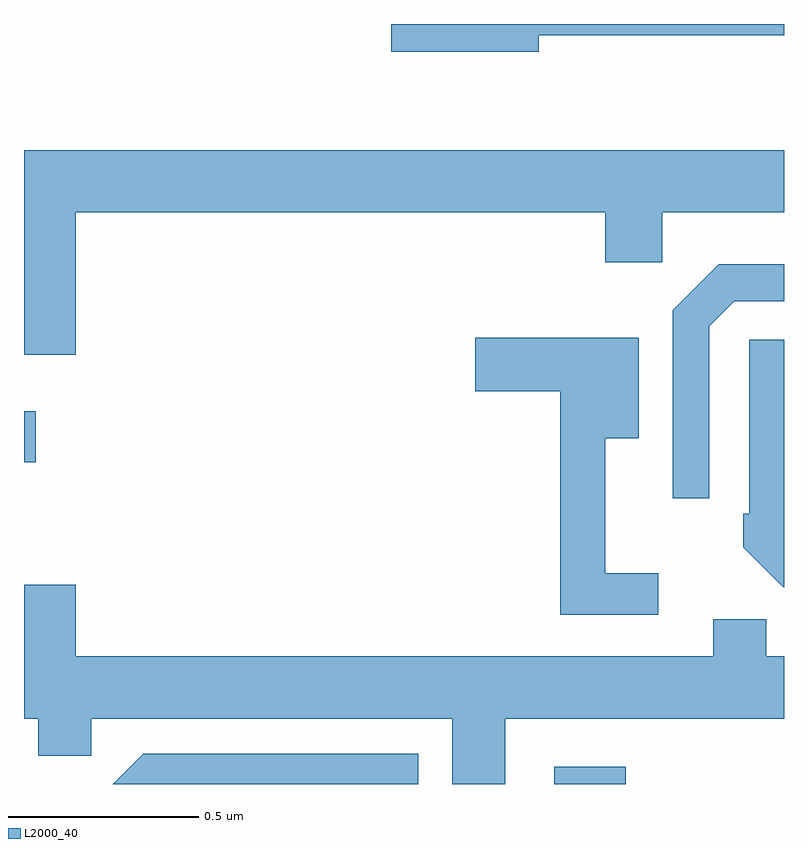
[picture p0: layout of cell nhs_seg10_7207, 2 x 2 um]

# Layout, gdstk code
import gdstk
lib = gdstk.Library(unit=1e-6, precision=1e-09)
def R(c, l, rs):  # rectangles x0, y0, x1, y1
    for r in rs: c.add(gdstk.rectangle(r[:2], r[2:], *l))
def P(c, l, *ps):  # polygons
    for p in ps: c.add(gdstk.Polygon(p, *l))
L2000_40 = (2000, 40)

nhs_seg10_7207 = lib.new_cell('nhs_seg10_7207')
R(nhs_seg10_7207, L2000_40, [(202.395,1277.5,202.583,1277.545), (201,1278.347,201.031,1278.481)])
P(nhs_seg10_7207, L2000_40, [(202.354,1279.47),(203,1279.47),(203,1279.5),(201.966,1279.5),(201.966,1279.427),(202.354,1279.427)],
  [(201,1278.63),(201.136,1278.63),(201.136,1279.004),(202.529,1279.004),(202.529,1278.873),(202.68,1278.873),(202.68,1279.004),(203,1279.004),(203,1279.168),(201,1279.168)],
  [(202.803,1278.705),(202.869,1278.771),(203,1278.771),(203,1278.868),(202.828,1278.868),(202.707,1278.747),(202.707,1278.252),(202.803,1278.252)],
  [(202.669,1278.055),(202.529,1278.055),(202.529,1278.41),(202.618,1278.41),(202.618,1278.675),(202.188,1278.675),(202.188,1278.533),(202.411,1278.533),(202.411,1277.946),(202.669,1277.946)],
  [(203,1278.669),(202.908,1278.669),(202.908,1278.211),(202.893,1278.211),(202.893,1278.123),(202.998,1278.018),(202.999,1278.019),(203,1278.018)],
  [(202.267,1277.672),(203,1277.672),(203,1277.836),(202.953,1277.836),(202.953,1277.934),(202.814,1277.934),(202.814,1277.836),(201.136,1277.836),(201.136,1278.025),(201,1278.025),(201,1277.672),(201.038,1277.672),(201.038,1277.574),(201.177,1277.574),(201.177,1277.672),(202.127,1277.672),(202.127,1277.5),(202.267,1277.5)],
  [(202.038,1277.58),(201.314,1277.58),(201.234,1277.5),(202.038,1277.5)])

lib.write_gds('nhs_seg10_7207.gds')
